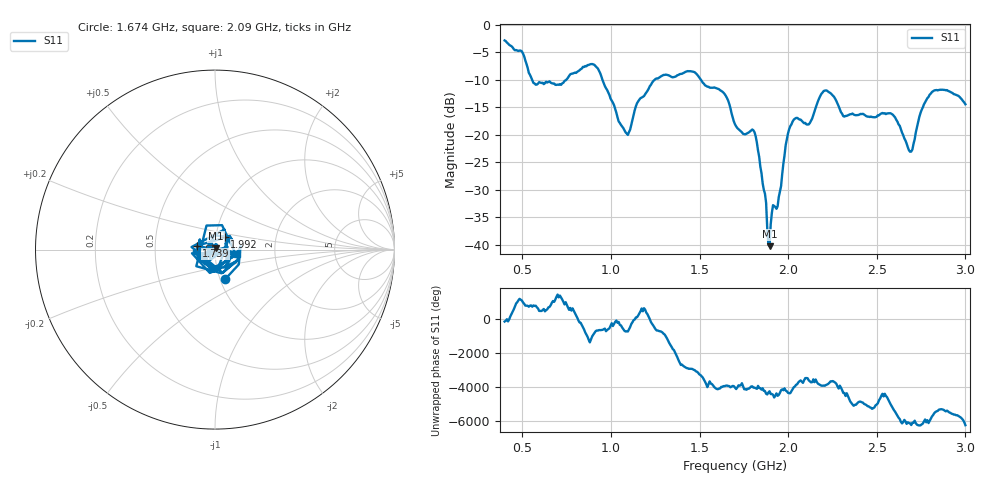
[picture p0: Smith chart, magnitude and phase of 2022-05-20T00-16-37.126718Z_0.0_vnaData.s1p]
!Created with skrf (http://scikit-rf.org).
# Hz S RI R 50.0
!freq ReS11 ImS11
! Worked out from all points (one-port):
!   401 points, 400 MHz to 3 GHz, reference 50 ohm
!   lowest |S11| = -40.3 dB at 1.895 GHz (marker M1), VSWR 1.02, Z = 50.6 + j0.796 ohm
!   |S11| at or under -10 dB: 554.8 MHz to 748.9 MHz (194.1 MHz wide, 29.8 % of centre); 951.6 MHz to 1.248 GHz (296.3 MHz wide, 26.9 % of centre); 1.507 GHz to end of sweep
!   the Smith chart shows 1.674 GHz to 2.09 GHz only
!   S11 on the Smith chart (normalised r, x): 1.674 GHz: 1.06, -0.36; 1.739 GHz: 0.81, +0.03; 1.992 GHz: 1.10, +0.16; 2.09 GHz: 1.28, -0.07
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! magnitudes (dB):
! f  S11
! 400 MHz  -2.9
! 497.5 MHz  -4.9
! 569 MHz  -10.7
! 725 MHz  -10.7
! 907 MHz  -7.3
! 1.05 GHz  -17.9
! 1.095 GHz  -20.1
! 1.154 GHz  -13.9
! 1.238 GHz  -10.3
! 1.375 GHz  -9.2
! 1.472 GHz  -8.7
! 1.674 GHz  -15.2
! 1.7 GHz  -18.1
! 1.739 GHz  -19.6
! 1.81 GHz  -19.6
! 1.895 GHz  -40.3
! 1.947 GHz  -31.3
! 1.992 GHz  -20.9
! 2.025 GHz  -17.6
! 2.09 GHz  -17.9
! 2.207 GHz  -12.0
! 2.35 GHz  -16.3
! 2.584 GHz  -16.2
! 2.675 GHz  -22.3
! 2.701 GHz  -22.7
! 2.753 GHz  -15.5
! 2.818 GHz  -12.1
! 3 GHz  -14.5
